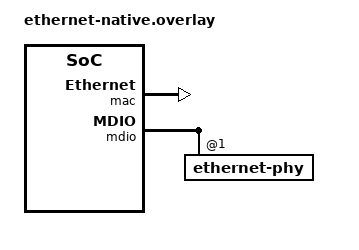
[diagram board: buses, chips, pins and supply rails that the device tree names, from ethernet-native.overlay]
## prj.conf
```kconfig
# General config
CONFIG_REQUIRES_FULL_LIBC=y

# Networking config
CONFIG_NETWORKING=y
CONFIG_NET_IPV4=y
CONFIG_NET_IPV6=n
CONFIG_NET_TCP=y
CONFIG_NET_SOCKETS=y
CONFIG_POSIX_API=y

# Network driver config
CONFIG_TEST_RANDOM_GENERATOR=y

# Network address config
CONFIG_NET_CONFIG_SETTINGS=y
CONFIG_NET_CONFIG_NEED_IPV4=y
CONFIG_NET_CONFIG_MY_IPV4_ADDR="192.0.2.1"
CONFIG_NET_CONFIG_PEER_IPV4_ADDR="192.0.2.2"

# Networking tweaks
# Required to handle large number of consecutive connections, e.g. when testing with ApacheBench.
CONFIG_NET_TCP_TIME_WAIT_DELAY=0


# This was to solve compile-time warnings. Might work without.
CONFIG_NET_CONFIG_AUTO_INIT=y
CONFIG_NET_CONFIG_INIT_PRIO=95
CONFIG_NET_CONFIG_NEED_IPV4=y

#Logging
CONFIG_LOG=y
CONFIG_LOG_MODE_IMMEDIATE=y
# CONFIG_NET_LOG=y Makes the system crash. May be stack overflow.
CONFIG_EARLY_CONSOLE=y
CONFIG_UART_CONSOLE=y
CONFIG_ASSERT=y

# Shell
CONFIG_SHELL=y
CONFIG_NET_SHELL=y
CONFIG_NET_STATISTICS=y
```

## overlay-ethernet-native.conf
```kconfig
CONFIG_NET_L2_ETHERNET=y

# The Address Resolution Protocol (ARP) is a communication protocol for discovering the link layer address,
# such as a MAC address, associated with an internet layer address, typically an IPv4 address.
# It is part of L3.
CONFIG_NET_ARP=y
CONFIG_NET_ARP_TABLE_SIZE=2
CONFIG_NET_ARP_GRATUITOUS=y

CONFIG_ETH_DRIVER=y
CONFIG_ETH_PHY_DRIVER=y
CONFIG_ETH_INIT_PRIORITY=80
CONFIG_PHY_INIT_PRIORITY=70
CONFIG_PHY_AUTONEG_TIMEOUT_MS=4000
CONFIG_PHY_MONITOR_PERIOD=500
```

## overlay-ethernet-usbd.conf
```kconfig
CONFIG_NET_L2_ETHERNET=y


CONFIG_NET_ARP=y
CONFIG_NET_ARP_TABLE_SIZE=2
CONFIG_NET_ARP_GRATUITOUS=y


CONFIG_UDC_DRIVER=y
CONFIG_UDC_BUF_COUNT=16
CONFIG_UDC_BUF_POOL_SIZE=1024
CONFIG_UDC_DRIVER_LOG_LEVEL_DEFAULT=y
CONFIG_UDC_STM32_STACK_SIZE=1024
CONFIG_UDC_DRIVER_HIGH_SPEED_SUPPORT_ENABLED=n

CONFIG_USB_DEVICE_STACK_NEXT=y

CONFIG_USBD_LOG_LEVEL_DEFAULT=y
CONFIG_USBD_MAX_SPEED_FULL=y
CONFIG_USBD_BOS_SUPPORT=y
CONFIG_USBD_VREQ_SUPPORT=y
CONFIG_USBD_SHELL=y
CONFIG_USBD_THREAD_STACK_SIZE=1024
CONFIG_USBD_MAX_UDC_MSG=10
CONFIG_USBD_MSG_DEFERRED_MODE=y
CONFIG_USBD_MSG_SLAB_COUNT=8
CONFIG_USBD_MSG_WORK_DELAY=1
CONFIG_USBD_HWINFO_DEVID_LENGTH=16
CONFIG_USBD_CDC_NCM_CLASS=y
CONFIG_USBD_CDC_NCM_MAX_DGRAM_PER_NTB=2

CONFIG_USBD_CDC_NCM_LOG_LEVEL_DEFAULT=y

# To avoid stack overflow.
CONFIG_MAIN_STACK_SIZE=4096
CONFIG_USBD_THREAD_STACK_SIZE=4096
```

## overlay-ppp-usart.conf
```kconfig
CONFIG_NET_L2_PPP=y
CONFIG_NET_L2_PPP_TIMEOUT=3000
CONFIG_NET_L2_PPP_MAX_CONFIGURE_REQ_RETRANSMITS=10
CONFIG_NET_L2_PPP_MAX_TERMINATE_REQ_RETRANSMITS=2
CONFIG_NET_L2_PPP_MAX_NACK_LOOPS=5
# CONFIG_NET_L2_PPP_PAP is not set
# CONFIG_NET_L2_PPP_OPTION_MRU is not set
CONFIG_NET_L2_PPP_OPTION_MAX_MRU=1500
# CONFIG_NET_L2_PPP_OPTION_SERVE_IP is not set
# CONFIG_NET_L2_PPP_OPTION_SERVE_DNS is not set
# CONFIG_NET_L2_PPP_MGMT is not set
CONFIG_NET_L2_PPP_TX_STACK_SIZE=1024
CONFIG_NET_L2_PPP_THREAD_PRIO=1
# CONFIG_NET_DEFAULT_IF_PPP is not set


CONFIG_NET_DRIVERS=y

CONFIG_NET_PPP=y
CONFIG_NET_PPP_DRV_NAME="ppp"
CONFIG_NET_PPP_MTU_MRU=1500
CONFIG_NET_PPP_UART_BUF_LEN=8
CONFIG_NET_PPP_RINGBUF_SIZE=256
CONFIG_NET_PPP_RX_STACK_SIZE=2048
CONFIG_NET_PPP_RX_PRIORITY=7
CONFIG_NET_PPP_VERIFY_FCS=y
CONFIG_NET_PPP_LOG_LEVEL_DEFAULT=y
CONFIG_PPP_MAC_ADDR=""

CONFIG_CRC=y
CONFIG_CRC_LOG_LEVEL_DEFAULT=y
# CONFIG_CRC_HW_HANDLER is not set
# CONFIG_CRC32_K_4_2_TABLE_256 is not set
# CONFIG_CRC_SHELL is not set



# See https://docs.zephyrproject.org/latest/connectivity/networking/net_config_guide.html#network-buffer-configuration-options
# Default 4
CONFIG_NET_PKT_RX_COUNT=4
# Default 4
CONFIG_NET_PKT_TX_COUNT=4
# Default 128
CONFIG_NET_BUF_DATA_SIZE=128 
# Default 16
CONFIG_NET_BUF_RX_COUNT=16 
# Default 16
CONFIG_NET_BUF_TX_COUNT=32 
# Default 4
CONFIG_NET_PKT_BUF_USER_DATA_SIZE=4 
```

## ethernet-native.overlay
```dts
&mac {
    status = "okay";
};

&mdio {
    status = "okay";
    ethernet-phy@1 {
        status = "okay";
    };
} ;
```

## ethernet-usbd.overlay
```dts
&clk_hsi48 { // Clock hooked to the USB Controller
    status = "okay";
};

/ {
    cdc_ncm_eth0: cdc_ncm_eth0 { // Do we need the label?
        compatible = "zephyr,cdc-ncm-ethernet";
        remote-mac-address = "00005E005301";  // Apparently any could work
    };
};

// The usbd Shell hardcodes the use of the label zephyr_udc0 at zephyr/subsys/usb/device_next/usbd_shell.c:49
zephyr_udc0: &usbotg_fs {
    status = "okay";
};
```

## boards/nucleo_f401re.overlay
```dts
/ {
    chosen {
        zephyr,ppp-uart = &usart1;
    };
};


// PPP: improved ping from 25ms to 3.5ms
&usart1 {
	current-speed = <1000000>; 
};
```

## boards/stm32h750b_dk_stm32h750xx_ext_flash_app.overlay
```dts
&mac {
    pinctrl-0 = <
        &eth_rx_clk_pa1
        &eth_rx_dv_pa7
        &eth_rxd2_pb0
        &eth_rxd3_pb1
        &eth_txd2_pc2
        &eth_tx_clk_pc3
        &eth_rxd0_pc4
        &eth_rxd1_pc5
        &eth_txd3_pe2
        &eth_tx_en_pg11
        &eth_txd1_pg12
        &eth_txd0_pg13
        &eth_rx_er_pi10
        /* &eth_crs_ph2  <-- REMOVE OR COMMENT OUT */
        /* &eth_col_ph3  <-- REMOVE OR COMMENT OUT */
    >;
    phy-connection-type = "mii";
    phy-handle = <&eth_phy>;
    pinctrl-names = "default";
};

&mdio {
    // In Zephyr's build system, DTS status inheritance works for driver initialization but doesn't
    // always prevent the C header generation from creating references.
    // So we need to disable eth_phy here even mdio is disabled already.
    eth_phy: ethernet-phy@1 {
        compatible = "ethernet-phy";
        reg = <1>;
        status = "disabled";
    };
    pinctrl-0 = <&eth_mdio_pa2 &eth_mdc_pc1>;
    pinctrl-names = "default";
};


&usbotg_fs {
    pinctrl-0 = <
        &usb_otg_fs_sof_pa8
        /*&usb_otg_fs_vbus_pa9*/ /* VBUS sensing, Commented out to make it work */
        &usb_otg_fs_id_pa10
        &usb_otg_fs_dm_pa11
        &usb_otg_fs_dp_pa12
    >;
    pinctrl-names = "default";
};
```

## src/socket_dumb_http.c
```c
/*
 * Copyright (c) 2017 Linaro Limited
 *
 * SPDX-License-Identifier: Apache-2.0
 */

#include <stdio.h>
#include <stdlib.h>
#include <errno.h>
#if !defined(__ZEPHYR__) || defined(CONFIG_POSIX_API)

#include <netinet/in.h>
#include <sys/socket.h>
#include <arpa/inet.h>
#include <unistd.h>

#else

#include <zephyr/net/socket.h>
#include <zephyr/kernel.h>

#include <zephyr/net/net_pkt.h>

#endif

#define BIND_PORT 8080

#ifndef USE_BIG_PAYLOAD
#define USE_BIG_PAYLOAD 1
#endif

#define CHECK(r) { if (r == -1) { printf("Error: " #r "\n"); exit(1); } }

static const char content[] = {
#if USE_BIG_PAYLOAD
    #include "response_big.html.bin.inc"
#else
    #include "response_small.html.bin.inc"
#endif
};

/* If accept returns an error, then we are probably running
 * out of resource. Sleep a small amount of time in order the
 * system to cool down.
 */
#define ACCEPT_ERROR_WAIT 100 /* in ms */

#if DT_NODE_HAS_STATUS(DT_NODELABEL(usbotg_fs), okay)

#include <zephyr/usb/usbd.h>


#include <zephyr/usb/usb_ch9.h> /* Contains USB_SCD_ macros */

/* 1. Define the Device Context */
/* Using 'usbotg_fs' directly to match your H750 hardware node */
USBD_DEVICE_DEFINE(my_usbd, 
                   DEVICE_DT_GET(DT_NODELABEL(usbotg_fs)), 
                   0x0483, 0x0001);

/* 2. Define Basic String Descriptors */
USBD_DESC_LANG_DEFINE(my_lang);
USBD_DESC_MANUFACTURER_DEFINE(my_mfr, "Zephyr");
USBD_DESC_PRODUCT_DEFINE(my_prdc, "DD's NCM Network Interface");

/* 3. Define the Full-Speed Configuration */


USBD_DESC_CONFIG_DEFINE(my_cfg_desc, "Default Config");

/* Fixed macro: removed '_ATTRIBUTES_' from the constant name */
USBD_CONFIGURATION_DEFINE(my_fs_cfg, 
                          USB_SCD_SELF_POWERED, 
                          100, 
                          &my_cfg_desc);
int start_usb_networking(void)
{
    int err;
    struct usbd_context *ctx = &my_usbd;

    /* Add Mandatory String Descriptors */
    usbd_add_descriptor(ctx, &my_lang);
    usbd_add_descriptor(ctx, &my_mfr);
    usbd_add_descriptor(ctx, &my_prdc);

    /* Setup Device Triple for IAD (Required for CDC NCM/Compound devices) */
    /* 0xEF = Miscellaneous, 0x02 = Common Class, 0x01 = Interface Association */
    usbd_device_set_code_triple(ctx, USBD_SPEED_FS, 0xEF, 0x02, 0x01);

    /* Bind Configuration and Register NCM Class */
    err = usbd_add_configuration(ctx, USBD_SPEED_FS, &my_fs_cfg);
    if (err) return err;

    /* Register all classes enabled in prj.conf (e.g. CDC NCM) */
    err = usbd_register_all_classes(ctx, USBD_SPEED_FS, 1, NULL);
    if (err) return err;

    /* Initialize and Fire it up */
    err = usbd_init(ctx);
    if (err) return err;

    return usbd_enable(ctx);
}

#endif

static void sleep_after_error(unsigned int amount)
{
#if defined(__ZEPHYR__)
	k_msleep(amount);
#else
	usleep(amount * 1000U);
#endif
}

int main(void)
{
	printk("Starting dumb HTTP server sample\n");

#if DT_NODE_HAS_STATUS(DT_NODELABEL(usbotg_fs), okay)

	start_usb_networking();
	printk("USB device enabled\n");
	
#endif
	int serv;
	struct sockaddr_in bind_addr;
	static int counter;
	int ret;

	serv = socket(AF_INET, SOCK_STREAM, IPPROTO_TCP);
	CHECK(serv);

	bind_addr.sin_family = AF_INET;
	bind_addr.sin_addr.s_addr = htonl(INADDR_ANY);
	bind_addr.sin_port = htons(BIND_PORT);
	CHECK(bind(serv, (struct sockaddr *)&bind_addr, sizeof(bind_addr)));

	CHECK(listen(serv, 5));

	printf("Single-threaded dumb HTTP server waits for a connection on "
	       "port %d...\n", BIND_PORT);

	while (1) {
		struct sockaddr_in client_addr;
		socklen_t client_addr_len = sizeof(client_addr);
		char addr_str[32];
		int req_state = 0;
		const char *data;
		size_t len;

		int client = accept(serv, (struct sockaddr *)&client_addr,
				    &client_addr_len);
		if (client < 0) {
			printf("Error in accept: %d - continuing\n", errno);
			sleep_after_error(ACCEPT_ERROR_WAIT);
			continue;
		}

		inet_ntop(client_addr.sin_family, &client_addr.sin_addr,
			  addr_str, sizeof(addr_str));
		printf("Connection #%d from %s\n", counter++, addr_str);

		/* Discard HTTP request (or otherwise client will get
		 * connection reset error).
		 */
		while (1) {
			ssize_t r;
			char c;

			r = recv(client, &c, 1, 0);
			if (r == 0) {
				goto close_client;
			}

			if (r < 0) {
				if (errno == EAGAIN || errno == EINTR) {
					continue;
				}

				printf("Got error %d when receiving from "
				       "socket\n", errno);
				goto close_client;
			}
			if (req_state == 0 && c == '\r') {
				req_state++;
			} else if (req_state == 1 && c == '\n') {
				req_state++;
			} else if (req_state == 2 && c == '\r') {
				req_state++;
			} else if (req_state == 3 && c == '\n') {
				break;
			} else {
				req_state = 0;
			}
		}

		data = content;
		len = sizeof(content);
		while (len) {
			int sent_len = send(client, data, len, 0);

			if (sent_len == -1) {
				printf("Error sending data to peer, errno: %d\n", errno);
				break;
			}
			data += sent_len;
			len -= sent_len;
		}

close_client:
		ret = close(client);
		if (ret == 0) {
			printf("Connection from %s closed\n", addr_str);
		} else {
			printf("Got error %d while closing the "
			       "socket\n", errno);
		}

#if defined(__ZEPHYR__) && defined(CONFIG_NET_BUF_POOL_USAGE)
		struct k_mem_slab *rx, *tx;
		struct net_buf_pool *rx_data, *tx_data;

		net_pkt_get_info(&rx, &tx, &rx_data, &tx_data);
		printf("rx buf: %d, tx buf: %d\n",
		       atomic_get(&rx_data->avail_count), atomic_get(&tx_data->avail_count));
#endif

	}
	return 0;
}
```
